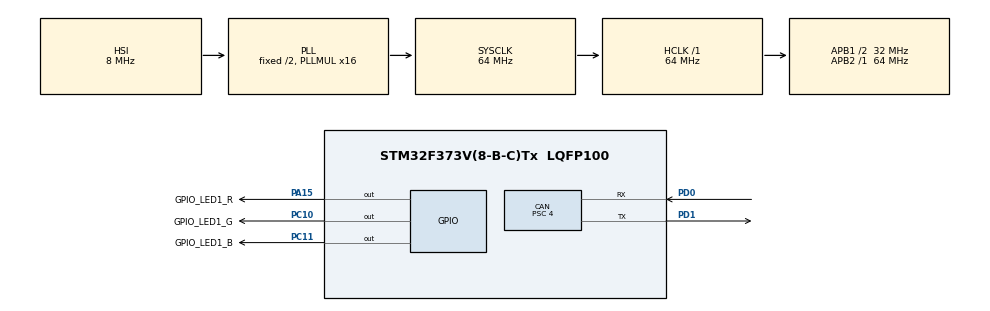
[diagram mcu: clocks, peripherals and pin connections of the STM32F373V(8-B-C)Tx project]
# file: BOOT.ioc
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CAN.ABOM=ENABLE
CAN.BS1=CAN_BS1_9TQ
CAN.BS2=CAN_BS2_6TQ
CAN.CalculateTimeBit=2000
CAN.CalculateTimeQuantum=125.0
CAN.Prescaler=4
Mcu.Family=STM32F3
Mcu.Name=STM32F373V(8-B-C)Tx
Mcu.Package=LQFP100
NVIC.CAN_RX0_IRQn=true\:0\:0\:false\:false\:true\:true\:true
NVIC.CAN_TX_IRQn=true\:0\:0\:false\:false\:true\:true\:true
NVIC.PriorityGroup=NVIC_PRIORITYGROUP_4
NVIC.TIM17_IRQn=true\:0\:0\:false\:false\:true\:true\:true
PA13.Mode=Trace_Asynchronous_SW
PA13.Signal=SYS_JTMS-SWDIO
PA14.Mode=Trace_Asynchronous_SW
PA14.Signal=SYS_JTCK-SWCLK
PA15.GPIO_Label=GPIO_LED1_R
PA15.GPIO_ModeDefaultOutputPP=GPIO_MODE_OUTPUT_PP
PA15.GPIO_PuPd=GPIO_NOPULL
PA15.GPIO_Speed=GPIO_SPEED_FREQ_LOW
PA15.PinState=GPIO_PIN_RESET
PA15.Signal=GPIO_Output
PB3.Mode=Trace_Asynchronous_SW
PB3.Signal=SYS_JTDO-TRACESWO
PC10.GPIO_Label=GPIO_LED1_G
PC10.GPIO_ModeDefaultOutputPP=GPIO_MODE_OUTPUT_PP
PC10.GPIO_PuPd=GPIO_NOPULL
PC10.GPIO_Speed=GPIO_SPEED_FREQ_LOW
PC10.PinState=GPIO_PIN_RESET
PC10.Signal=GPIO_Output
PC11.GPIO_Label=GPIO_LED1_B
PC11.GPIO_ModeDefaultOutputPP=GPIO_MODE_OUTPUT_PP
PC11.GPIO_PuPd=GPIO_NOPULL
PC11.GPIO_Speed=GPIO_SPEED_FREQ_LOW
PC11.PinState=GPIO_PIN_RESET
PC11.Signal=GPIO_Output
PD0.Mode=Master
PD0.Signal=CAN_RX
PD1.Mode=Master
PD1.Signal=CAN_TX
ProjectManager.HeapSize=0x200
ProjectManager.StackSize=0x400
ProjectManager.TargetToolchain=TrueSTUDIO
RCC.AHBFreq_Value=64000000
RCC.APB1CLKDivider=RCC_HCLK_DIV2
RCC.APB1Freq_Value=32000000
RCC.APB1TimFreq_Value=64000000
RCC.APB2Freq_Value=64000000
RCC.APB2TimFreq_Value=64000000
RCC.CortexFreq_Value=64000000
RCC.HCLKFreq_Value=64000000
RCC.HSE_VALUE=8000000
RCC.HSI_VALUE=8000000
RCC.LSE_VALUE=32768
RCC.PLLMUL=RCC_PLL_MUL16
RCC.SDADCPresc=RCC_SDADCSYSCLK_DIV48
RCC.SYSCLKFreq_VALUE=64000000
RCC.SYSCLKSource=RCC_SYSCLKSOURCE_PLLCLK
RCC.USBFreq_Value=64000000
TIM17.AutoReloadPreload=TIM_AUTORELOAD_PRELOAD_ENABLE
TIM17.ClockDivision=TIM_CLOCKDIVISION_DIV2
TIM17.Period=32000
TIM17.Prescaler=1
VP_CRC_VS_CRC.Mode=CRC_Activate
VP_TIM17_VS_ClockSourceINT.Mode=Enable_Timer
board=BOOT

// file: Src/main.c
/* USER CODE BEGIN Header */
/**
  ******************************************************************************
  * @file           : main.c
  * @brief          : Main program body
  ******************************************************************************
  ** This notice applies to any and all portions of this file
  * that are not between comment pairs USER CODE BEGIN and
  * USER CODE END. Other portions of this file, whether
  * inserted by the user or by software development tools
  * are owned by their respective copyright owners.
  *
  * COPYRIGHT(c) 2019 STMicroelectronics
  *
  * Redistribution and use in source and binary forms, with or without modification,
  * are permitted provided that the following conditions are met:
  *   1. Redistributions of source code must retain the above copyright notice,
  *      this list of conditions and the following disclaimer.
  *   2. Redistributions in binary form must reproduce the above copyright notice,
  *      this list of conditions and the following disclaimer in the documentation
  *      and/or other materials provided with the distribution.
  *   3. Neither the name of STMicroelectronics nor the names of its contributors
  *      may be used to endorse or promote products derived from this software
  *      without specific prior written permission.
  *
  * THIS SOFTWARE IS PROVIDED BY THE COPYRIGHT HOLDERS AND CONTRIBUTORS "AS IS"
  * AND ANY EXPRESS OR IMPLIED WARRANTIES, INCLUDING, BUT NOT LIMITED TO, THE
  * IMPLIED WARRANTIES OF MERCHANTABILITY AND FITNESS FOR A PARTICULAR PURPOSE ARE
  * DISCLAIMED. IN NO EVENT SHALL THE COPYRIGHT HOLDER OR CONTRIBUTORS BE LIABLE
  * FOR ANY DIRECT, INDIRECT, INCIDENTAL, SPECIAL, EXEMPLARY, OR CONSEQUENTIAL
  * DAMAGES (INCLUDING, BUT NOT LIMITED TO, PROCUREMENT OF SUBSTITUTE GOODS OR
  * SERVICES; LOSS OF USE, DATA, OR PROFITS; OR BUSINESS INTERRUPTION) HOWEVER
  * CAUSED AND ON ANY THEORY OF LIABILITY, WHETHER IN CONTRACT, STRICT LIABILITY,
  * OR TORT (INCLUDING NEGLIGENCE OR OTHERWISE) ARISING IN ANY WAY OUT OF THE USE
  * OF THIS SOFTWARE, EVEN IF ADVISED OF THE POSSIBILITY OF SUCH DAMAGE.
  *
  ******************************************************************************
  */
/* USER CODE END Header */

#include "main.h"

/* USER CODE BEGIN Includes */
/*

		Flash memory organisation

		0x8040000 -> +-------------+
					 | 0x803F000   |	\
					 |    to       |	 \
					 | 0x803FFFF   |	  |- Reserved for checksum and other informations
					 |   4 KB      |	 /
					 | data        |	/
		0x803F000 -> +-------------+
					 |             |	\
					 |             |	 \
					 |             |	  |
					 |             |	  |
					 | 0x8008000   |	  |
					 |    to       |	  |
					 | 0x803EFFF   |	  |- Contain the application software
					 |   220 KB    |	  |
					 | application |	  |
					 |             |	  |
					 |             |	  |
					 |             |	 /
					 |             |	/
		0x8008000 -> +-------------+
					 |             |	\
					 | 0x8000000   |	 \
					 |    to       |	  |
					 | 0x8007FFF   |	  |- Contain bootloader software (this project)
					 |   32 KB     |	  |
					 | bootloader  |	 /
					 |             |	/
		0x8000000 -> +-------------+

Bootloader version 1.0.0 CRC32 = 0xC2106B18

 */
#include <string.h>
#include "btld.h"
/* USER CODE END Includes */

CAN_HandleTypeDef hcan;

CRC_HandleTypeDef hcrc;

TIM_HandleTypeDef htim17;

/* USER CODE BEGIN PV */
/* Private variables ---------------------------------------------------------*/

#define TRUE 1
#define FALSE 0
#define G_MAX_MS_COUNTER 4294967296

uint32_t G_mSCounter=0;

uint8_t G_loader_mode=0;
uint8_t G_flash_erase_CMD=0;
uint8_t G_run_app_CMD=0;
uint8_t G_return_CRC_CMD=0;
uint8_t G_return_BOOT_CRC_CMD=0;

uint8_t G_start_flash_CMD=0;
uint8_t G_write_next_CMD=0;
uint32_t G_uint32_to_write=0;
uint8_t G_end_flash_CMD=0;
uint8_t G_FlashInProgress=0;

uint8_t G_LedUpdate=0;

uint32_t G_index=0;

CAN_TxHeaderTypeDef   TxHeader;
CAN_RxHeaderTypeDef   RxHeader;
uint8_t               TxData[8];
uint8_t               RxData[8];
uint32_t              TxMailbox;

/* USER CODE END PV */

void SystemClock_Config(void);
static void MX_GPIO_Init(void);
static void MX_TIM17_Init(void);
static void MX_CAN_Init(void);
static void MX_CRC_Init(void);
/* USER CODE BEGIN PFP */
/* Private function prototypes -----------------------------------------------*/
void config_can_filter(void);
void CAN_TX_Cplt(CAN_HandleTypeDef* phcan);
void Run_Application();

void send_confirm_msg(uint8_t status);

/* USER CODE END PFP */

int main_BTLD(void)
{

  /* MCU Configuration--------------------------------------------------------*/

  /* Reset of all peripherals, Initializes the Flash interface and the Systick. */
  HAL_Init();

  /* Configure the system clock */
  SystemClock_Config();

  /* Initialize all configured peripherals */
  MX_GPIO_Init();
  MX_TIM17_Init();
  MX_CAN_Init();
  MX_CRC_Init();
  /* USER CODE BEGIN 2 */

  /* Configura CAN RX FILTER */
  config_can_filter();

  /* Start CAN recieve Interrupt */
  HAL_CAN_Start(&hcan);
  HAL_CAN_ActivateNotification(&hcan,CAN_IT_RX_FIFO0_MSG_PENDING);

  HAL_TIM_Base_Start_IT(&htim17); // 1mS

  /* USER CODE END 2 */

  /* Infinite loop */
  /* USER CODE BEGIN WHILE */

  if(btld_CheckForApplication()==BL_NO_APP){
	  G_loader_mode=1;
  }

  while (1)
  {
	  //uint8_t LOADED=0;

	  /* Loader Mode */
	  if(G_loader_mode){

		  /* Erase Flash */
		  if(G_flash_erase_CMD){
			  if(btld_EraseFlash()==HAL_OK){
				  /* Erase Success */
					//Send CAN message to know we are in loader mode
					TxHeader.ExtId=TX_FEEDBACK_CANID + CANTX_SA;
					TxHeader.IDE=CAN_ID_EXT;
					TxHeader.RTR=CAN_RTR_DATA;
					TxHeader.DLC=1;
					TxData[0]=0xF0;

					HAL_CAN_AddTxMessage(&hcan,&TxHeader,TxData,&TxMailbox);
			  }else{
				  /* Erase failed */
					//Send CAN message to know we are in loader mode
					TxHeader.ExtId=TX_FEEDBACK_CANID + CANTX_SA;
					TxHeader.IDE=CAN_ID_EXT;
					TxHeader.RTR=CAN_RTR_DATA;
					TxHeader.DLC=1;
					TxData[0]=0xFF;

					HAL_CAN_AddTxMessage(&hcan,&TxHeader,TxData,&TxMailbox);
			  }
			  G_flash_erase_CMD=0;
		  }
		  /* Run Application command */
		  if(G_run_app_CMD){
			  btld_JumpToApp();
		  }
		  /* Calculate and send CRC */
		  if(G_return_CRC_CMD){
			  uint32_t checksum;
			  checksum=btld_GetChecksum();

				/* Send Available flash size for application */
				TxHeader.ExtId=TX_FEEDBACK_CANID + CANTX_SA;
				TxHeader.IDE=CAN_ID_EXT;
				TxHeader.RTR=CAN_RTR_DATA;
				TxHeader.DLC=5;
				TxData[0]=0xF4;

				TxData[1]=(checksum & 0xFF000000)>>24;
				TxData[2]=(checksum & 0x00FF0000)>>16;
				TxData[3]=(checksum & 0x0000FF00)>>8;
				TxData[4]=(checksum & 0x000000FF);

				/*TxData[1]=(~checksum & 0xFF000000)>>24;
				TxData[2]=(~checksum & 0x00FF0000)>>16;
				TxData[3]=(~checksum & 0x0000FF00)>>8;
				TxData[4]=(~checksum & 0x000000FF);*/

				HAL_CAN_AddTxMessage(&hcan,&TxHeader,TxData,&TxMailbox);

				G_return_CRC_CMD=0;
		  }
			/* Calculate and send CRC */
			if (G_return_BOOT_CRC_CMD) {
				uint32_t checksum;
				checksum = btld_GetBootChecksum();

				/* Send Achecksu, */
				TxHeader.ExtId = TX_FEEDBACK_CANID + CANTX_SA;
				TxHeader.IDE = CAN_ID_EXT;
				TxHeader.RTR = CAN_RTR_DATA;
				TxHeader.DLC = 5;
				TxData[0] = 0x0F;

				TxData[1] = (checksum & 0xFF000000) >> 24;
				TxData[2] = (checksum & 0x00FF0000) >> 16;
				TxData[3] = (checksum & 0x0000FF00) >> 8;
				TxData[4] = (checksum & 0x000000FF);

				HAL_CAN_AddTxMessage(&hcan, &TxHeader, TxData, &TxMailbox);

				G_return_BOOT_CRC_CMD = 0;
			}
			if (G_start_flash_CMD) {
				btld_FlashBegin();
				G_FlashInProgress = 1;
			  // request next WORD
			  /* Send success */
			  TxHeader.ExtId=TX_FEEDBACK_CANID + CANTX_SA;
			  TxHeader.IDE=CAN_ID_EXT;
			  TxHeader.RTR=CAN_RTR_DATA;
			  TxHeader.DLC=2;
			  TxData[0]=0xF5;
			  TxData[1]=0xFF;	//Success

			  HAL_CAN_AddTxMessage(&hcan,&TxHeader,TxData,&TxMailbox);

			  G_start_flash_CMD=0;
		  	}
		  if (G_end_flash_CMD && G_FlashInProgress){

			  btld_FlashEnd();
			  G_FlashInProgress=0;
			  G_end_flash_CMD=0;

			  // request next WORD
			  /* Send success */
			  TxHeader.ExtId=TX_FEEDBACK_CANID + CANTX_SA;
			  TxHeader.IDE=CAN_ID_EXT;
			  TxHeader.RTR=CAN_RTR_DATA;
			  TxHeader.DLC=2;
			  TxData[0]=0xF7;
			  TxData[1]=0xFF;	//Success

			  HAL_CAN_AddTxMessage(&hcan,&TxHeader,TxData,&TxMailbox);
		  }

			// LED CONTROL
			if (G_LedUpdate) {
				// every 500mS update the LED Status
				static uint8_t led_state = 1;

				switch (led_state) {
				case 1:
					HAL_GPIO_WritePin(GPIO_LED1_R_GPIO_Port, GPIO_LED1_R_Pin,1);
					HAL_GPIO_WritePin(GPIO_LED1_G_GPIO_Port, GPIO_LED1_G_Pin,0);
					HAL_GPIO_WritePin(GPIO_LED1_B_GPIO_Port, GPIO_LED1_B_Pin,0);
					led_state++;
					break;
				case 2:
					HAL_GPIO_WritePin(GPIO_LED1_R_GPIO_Port, GPIO_LED1_R_Pin,0);
					HAL_GPIO_WritePin(GPIO_LED1_G_GPIO_Port, GPIO_LED1_G_Pin,1);
					HAL_GPIO_WritePin(GPIO_LED1_B_GPIO_Port, GPIO_LED1_B_Pin,0);
					led_state++;
					break;
				case 3:
					HAL_GPIO_WritePin(GPIO_LED1_R_GPIO_Port, GPIO_LED1_R_Pin,0);
					HAL_GPIO_WritePin(GPIO_LED1_G_GPIO_Port, GPIO_LED1_G_Pin,0);
					HAL_GPIO_WritePin(GPIO_LED1_B_GPIO_Port, GPIO_LED1_B_Pin,1);
					led_state = 1;
					break;
				default:
					break;
				}
				G_LedUpdate=0;
			}

	  }else{
		  /* Jump to app if timeout*/
		  if(G_mSCounter>50){
			  btld_JumpToApp();
		  }
	  }

    /* USER CODE END WHILE */

  }
}

void SystemClock_Config(void)
{
  RCC_OscInitTypeDef RCC_OscInitStruct = {0};
  RCC_ClkInitTypeDef RCC_ClkInitStruct = {0};

  /** Initializes the CPU, AHB and APB busses clocks
  */
  RCC_OscInitStruct.OscillatorType = RCC_OSCILLATORTYPE_HSI;
  RCC_OscInitStruct.HSIState = RCC_HSI_ON;
  RCC_OscInitStruct.HSICalibrationValue = RCC_HSICALIBRATION_DEFAULT;
  RCC_OscInitStruct.PLL.PLLState = RCC_PLL_ON;
  RCC_OscInitStruct.PLL.PLLSource = RCC_PLLSOURCE_HSI;
  RCC_OscInitStruct.PLL.PLLMUL = RCC_PLL_MUL16;
  if (HAL_RCC_OscConfig(&RCC_OscInitStruct) != HAL_OK)
  {
    Error_Handler();
  }
  /** Initializes the CPU, AHB and APB busses clocks
  */
  RCC_ClkInitStruct.ClockType = RCC_CLOCKTYPE_HCLK|RCC_CLOCKTYPE_SYSCLK
                              |RCC_CLOCKTYPE_PCLK1|RCC_CLOCKTYPE_PCLK2;
  RCC_ClkInitStruct.SYSCLKSource = RCC_SYSCLKSOURCE_PLLCLK;
  RCC_ClkInitStruct.AHBCLKDivider = RCC_SYSCLK_DIV1;
  RCC_ClkInitStruct.APB1CLKDivider = RCC_HCLK_DIV2;
  RCC_ClkInitStruct.APB2CLKDivider = RCC_HCLK_DIV1;

  if (HAL_RCC_ClockConfig(&RCC_ClkInitStruct, FLASH_LATENCY_2) != HAL_OK)
  {
    Error_Handler();
  }
}

static void MX_CAN_Init(void)
{

  hcan.Instance = CAN;
  hcan.Init.Prescaler = 4;
  hcan.Init.Mode = CAN_MODE_NORMAL;
  hcan.Init.SyncJumpWidth = CAN_SJW_1TQ;
  hcan.Init.TimeSeg1 = CAN_BS1_9TQ;
  hcan.Init.TimeSeg2 = CAN_BS2_6TQ;
  hcan.Init.TimeTriggeredMode = DISABLE;
  hcan.Init.AutoBusOff = ENABLE;
  hcan.Init.AutoWakeUp = DISABLE;
  hcan.Init.AutoRetransmission = DISABLE;
  hcan.Init.ReceiveFifoLocked = DISABLE;
  hcan.Init.TransmitFifoPriority = DISABLE;
  if (HAL_CAN_Init(&hcan) != HAL_OK)
  {
    Error_Handler();
  }

}

static void MX_CRC_Init(void)
{

  hcrc.Instance = CRC;
  hcrc.Init.DefaultPolynomialUse = DEFAULT_POLYNOMIAL_ENABLE;
  hcrc.Init.DefaultInitValueUse = DEFAULT_INIT_VALUE_ENABLE;
  hcrc.Init.InputDataInversionMode = CRC_INPUTDATA_INVERSION_NONE;
  hcrc.Init.OutputDataInversionMode = CRC_OUTPUTDATA_INVERSION_DISABLE;
  hcrc.InputDataFormat = CRC_INPUTDATA_FORMAT_BYTES;
  if (HAL_CRC_Init(&hcrc) != HAL_OK)
  {
    Error_Handler();
  }

}

static void MX_TIM17_Init(void)
{

  htim17.Instance = TIM17;
  htim17.Init.Prescaler = 1;
  htim17.Init.CounterMode = TIM_COUNTERMODE_UP;
  htim17.Init.Period = 32000;
  htim17.Init.ClockDivision = TIM_CLOCKDIVISION_DIV2;
  htim17.Init.RepetitionCounter = 0;
  htim17.Init.AutoReloadPreload = TIM_AUTORELOAD_PRELOAD_ENABLE;
  if (HAL_TIM_Base_Init(&htim17) != HAL_OK)
  {
    Error_Handler();
  }

}

static void MX_GPIO_Init(void)
{
  GPIO_InitTypeDef GPIO_InitStruct = {0};

  /* GPIO Ports Clock Enable */
  __HAL_RCC_GPIOA_CLK_ENABLE();
  __HAL_RCC_GPIOC_CLK_ENABLE();
  __HAL_RCC_GPIOD_CLK_ENABLE();
  __HAL_RCC_GPIOB_CLK_ENABLE();

  /*Configure GPIO pin Output Level */
  HAL_GPIO_WritePin(GPIO_LED1_R_GPIO_Port, GPIO_LED1_R_Pin, GPIO_PIN_RESET);

  /*Configure GPIO pin Output Level */
  HAL_GPIO_WritePin(GPIOC, GPIO_LED1_G_Pin|GPIO_LED1_B_Pin, GPIO_PIN_RESET);

  /*Configure GPIO pin : GPIO_LED1_R_Pin */
  GPIO_InitStruct.Pin = GPIO_LED1_R_Pin;
  GPIO_InitStruct.Mode = GPIO_MODE_OUTPUT_PP;
  GPIO_InitStruct.Pull = GPIO_NOPULL;
  GPIO_InitStruct.Speed = GPIO_SPEED_FREQ_LOW;
  HAL_GPIO_Init(GPIO_LED1_R_GPIO_Port, &GPIO_InitStruct);

  /*Configure GPIO pins : GPIO_LED1_G_Pin GPIO_LED1_B_Pin */
  GPIO_InitStruct.Pin = GPIO_LED1_G_Pin|GPIO_LED1_B_Pin;
  GPIO_InitStruct.Mode = GPIO_MODE_OUTPUT_PP;
  GPIO_InitStruct.Pull = GPIO_NOPULL;
  GPIO_InitStruct.Speed = GPIO_SPEED_FREQ_LOW;
  HAL_GPIO_Init(GPIOC, &GPIO_InitStruct);

}

/* USER CODE BEGIN 4 */
/* Interrupt callback functions-----------------------------------------------*/

/* HAL_TIM_PeriodElapsedCallback ---------------------------------------------*/
/* Interrupt callback to manage timer interrupts							  */
/* htim19 1ms																  */
/*----------------------------------------------------------------------------*/
void HAL_TIM_PeriodElapsedCallback(TIM_HandleTypeDef *htim)
{

	/* htim17 1ms */
	if (&htim17 == htim) {

		static uint16_t cpt2=0;

		G_mSCounter++;

		if(G_mSCounter % 500 == 0){
			G_LedUpdate = 1;
		}

		if(G_mSCounter>=G_MAX_MS_COUNTER){
			G_mSCounter=0;
		}

		cpt2++;

		/* 1 S, reinitiate cpt2 */
		if(cpt2>=1000){
			cpt2=0;
		}

		/* 100 mS */
		if(cpt2%100==0){
			/* Main loop -----------------------------------------------------*/

			/* Input Read ------------------------------------------------*/

			/*------------------------------------------------ Input Read */

			/* Control loop ----------------------------------------------*/

			/*---------------------------------------------- Control loop */

			/* Output Write ----------------------------------------------*/
			if(G_loader_mode){
				//Send CAN message to know we are in loader mode
				TxHeader.ExtId=TX_HEARTBEAT_CANID + CANTX_SA;
				TxHeader.IDE=CAN_ID_EXT;
				TxHeader.RTR=CAN_RTR_DATA;
				TxHeader.DLC=1;
				TxData[0]=0xFF;

				HAL_CAN_AddTxMessage(&hcan,&TxHeader,TxData,&TxMailbox);
			}
			/*---------------------------------------------- Output Write */

			/*----------------------------------------------------- Main loop */
		}

	}
}

void HAL_CAN_ErrorCallback(CAN_HandleTypeDef *phcan){
	//uint32_t transmitmailbox;
	int retry=0;

	if((phcan->ErrorCode & HAL_CAN_ERROR_TX_ALST0) || (phcan->ErrorCode & HAL_CAN_ERROR_TX_TERR0)){
		HAL_CAN_AbortTxRequest(phcan,CAN_TX_MAILBOX0);
		retry=1;
	}
	if((phcan->ErrorCode & HAL_CAN_ERROR_TX_ALST1) || (phcan->ErrorCode & HAL_CAN_ERROR_TX_TERR1)){
		HAL_CAN_AbortTxRequest(phcan,CAN_TX_MAILBOX1);
		retry=1;
	}
	if((phcan->ErrorCode & HAL_CAN_ERROR_TX_ALST2) || (phcan->ErrorCode & HAL_CAN_ERROR_TX_TERR2)){
		HAL_CAN_AbortTxRequest(phcan,CAN_TX_MAILBOX2);
		retry=1;
	}

	HAL_CAN_ResetError(phcan);

	if(retry==1){
		HAL_CAN_DeactivateNotification(phcan,CAN_IT_TX_MAILBOX_EMPTY);
		HAL_CAN_ActivateNotification(phcan,CAN_IT_TX_MAILBOX_EMPTY);
		//HAL_CAN_AddTxMessage(phcan,&(CanTxList.SendMsgBuff.header),CanTxList.SendMsgBuff.Data,&transmitmailbox);
	}
}

/* HAL_CAN_TxCpltCallback ----------------------------------------------------*/
/* Interrupt callback to manage Can Tx Ready                                  */
/*----------------------------------------------------------------------------*/
void HAL_CAN_TxMailbox0CompleteCallback(CAN_HandleTypeDef* phcan){
	CAN_TX_Cplt(phcan);
}
void HAL_CAN_TxMailbox1CompleteCallback(CAN_HandleTypeDef* phcan){
	CAN_TX_Cplt(phcan);
}
void HAL_CAN_TxMailbox2CompleteCallback(CAN_HandleTypeDef* phcan){
	CAN_TX_Cplt(phcan);
}

void CAN_TX_Cplt(CAN_HandleTypeDef* phcan){

}

/* HAL_CAN_RxCpltCallback ----------------------------------------------------*/
/* Interrupt callback to manage Can Rx message ready to read                  */
/*----------------------------------------------------------------------------*/
void HAL_CAN_RxFifo0MsgPendingCallback(CAN_HandleTypeDef* phcan){

	CAN_RxHeaderTypeDef rxheader;
	uint8_t data[8];

	HAL_CAN_GetRxMessage(phcan,CAN_RX_FIFO0,&rxheader,data);

	/* Low level Can management ----------------------------------------------*/
	if(rxheader.ExtId==(RX_CMD_CANID + CANRX_SA) && rxheader.IDE==CAN_ID_EXT){
		if (data[0]==0xF0){
			G_loader_mode=1;
		}
		if (data[0]==0xF1 && G_loader_mode==1){
			G_flash_erase_CMD=1;
		}
		if (data[0]==0xF2 && G_loader_mode==1){
			if(btld_CheckForApplication()==BL_OK){
				G_run_app_CMD=1;
			}
		}
		if (data[0]==0xF3 && G_loader_mode==1){
			/* Send the available App size in bytes */
			uint32_t app_size;

			/* APP_SIZE is in DWORD, we multiply by 4 to have the size in bytes */
			app_size=APP_SIZE;//((END_ADDRESS - APP_ADDRESS) + 1);

			/* Send Available flash size for application */
			TxHeader.ExtId=TX_FEEDBACK_CANID + CANTX_SA;
			TxHeader.IDE=CAN_ID_EXT;
			TxHeader.RTR=CAN_RTR_DATA;
			TxHeader.DLC=5;
			TxData[0]=0xF3;

			TxData[1]=(app_size & 0xFF000000)>>24;
			TxData[2]=(app_size & 0x00FF0000)>>16;
			TxData[3]=(app_size & 0x0000FF00)>>8;
			TxData[4]=(app_size & 0x000000FF);

			HAL_CAN_AddTxMessage(&hcan,&TxHeader,TxData,&TxMailbox);
		}
		if (data[0]==0xF4 && G_loader_mode==1){
			G_return_CRC_CMD=1;
		}
		if (data[0]==0xF5 && G_loader_mode==1){
			G_index=0;
			G_start_flash_CMD=1;
		}
		if (data[0] == 0xF6 && G_loader_mode == 1 && rxheader.DLC >= 5) {

			G_write_next_CMD = 1;
			G_uint32_to_write = (((uint32_t) data[1]))
					| (((uint32_t) data[2]) << 8) | (((uint32_t) data[3]) << 16)
					| (((uint32_t) data[4]) << 24);

			HAL_CAN_DeactivateNotification(&hcan, CAN_IT_RX_FIFO0_MSG_PENDING);
			HAL_TIM_Base_Stop_IT(&htim17);

			if (G_index==((((uint32_t) data[5]) | ((uint32_t) data[6]) << 8))*4) {

				if (btld_FlashNext_32(G_uint32_to_write,&G_index) == BL_OK) {
					G_write_next_CMD = 0;

					/* Send success // request next WORD */
					send_confirm_msg(0xFF);

				} else {
					// Send failed msg

					/* Send failure */
					send_confirm_msg(0x00);

					G_write_next_CMD = 0;
					btld_FlashEnd();
					G_FlashInProgress = 0;
				}
			} else {
				G_write_next_CMD = 0;

				/* Send success // request next WORD */
				send_confirm_msg(0xFF);
			}
			HAL_TIM_Base_Start_IT(&htim17);
			HAL_CAN_ActivateNotification(&hcan, CAN_IT_RX_FIFO0_MSG_PENDING);
		}
		if (data[0]==0xF7 && G_loader_mode==1){
			G_end_flash_CMD=1;
		}
		if (data[0]==0x0F && G_loader_mode==1){
			G_return_BOOT_CRC_CMD=1;
		}

#if READ_PROTECT
		if (data[0] == 0xF8 && data[1] == 0xEF && data[2] == 0xFE
				&& data[3] == 0x40 && data[4] == 0x20) {
			/*Disable READ/WRITE protection*/
			btld_ConfigProtection(BL_PROTECTION_NONE);

		}
		if (data[0] == 0xF9 && data[1] == 0xEF && data[2] == 0xFE
				&& data[3] == 0x40 && data[4] == 0x20) {
			/*Enable READ/WRITE protection*/
			btld_ConfigProtection(BL_PROTECTION_RDP);

		}
#endif

	}

}

void config_can_filter(void){
   CAN_FilterTypeDef sFilterConfig;

   	   	   	   	   	   	   	  /* Leave mask bits for different messages commands
   	   	   	   	   	   	   	  |  	  	  	  	  	  	  	  	  	  	  	  	 */
   uint32_t filterMask=	RXFILTERMASK;
   uint32_t filterID=	RXFILTERID; // Only accept bootloader CAN message ID

  /*##-2- Configure the CAN Filter ###########################################*/
  //sFilterConfig.FilterNumber = 0;
  sFilterConfig.FilterMode = CAN_FILTERMODE_IDMASK;
  sFilterConfig.FilterScale = CAN_FILTERSCALE_32BIT;
  sFilterConfig.FilterIdHigh = filterID >> 13;
  sFilterConfig.FilterIdLow = (0x00FF & (filterID << 3)) | (1 << 2);
  sFilterConfig.FilterMaskIdHigh = filterMask >> 13;
  sFilterConfig.FilterMaskIdLow = (0x00FF & (filterMask << 3)) | (1 << 2);
  sFilterConfig.FilterFIFOAssignment = CAN_RX_FIFO0;
  sFilterConfig.FilterActivation = ENABLE;
  sFilterConfig.FilterBank = 0;
  if (HAL_CAN_ConfigFilter(&hcan, &sFilterConfig) != HAL_OK)
  {
    Error_Handler();
  }
}

void Run_Application(void){
	  HAL_TIM_Base_Stop_IT(&htim17);
	  HAL_TIM_Base_DeInit(&htim17);
	  HAL_CAN_DeactivateNotification(&hcan,CAN_IT_RX_FIFO0_MSG_PENDING);
	  HAL_CAN_Stop(&hcan);
	  HAL_CAN_DeInit(&hcan);
	  btld_JumpToApp();
}

void send_confirm_msg(uint8_t status){
	uint16_t index;

	index = G_index/4;

	TxHeader.ExtId = 0x00FE00 + CANTX_SA;
	TxHeader.IDE = CAN_ID_EXT;
	TxHeader.RTR = CAN_RTR_DATA;
	TxHeader.DLC = 4;
	TxData[0] = 0xF6;
	TxData[1] = status;	//0xFF = Success, 0x00 = failed
	TxData[2] = index & 0x00FF;
	TxData[3] = (index & 0xFF00)>>8;

	HAL_CAN_AddTxMessage(&hcan, &TxHeader, TxData, &TxMailbox);
}

/* USER CODE END 4 */

void Error_Handler(void)
{
  while(1)
  {
  }
}

/************************ (C) COPYRIGHT STMicroelectronics *****END OF FILE****/
